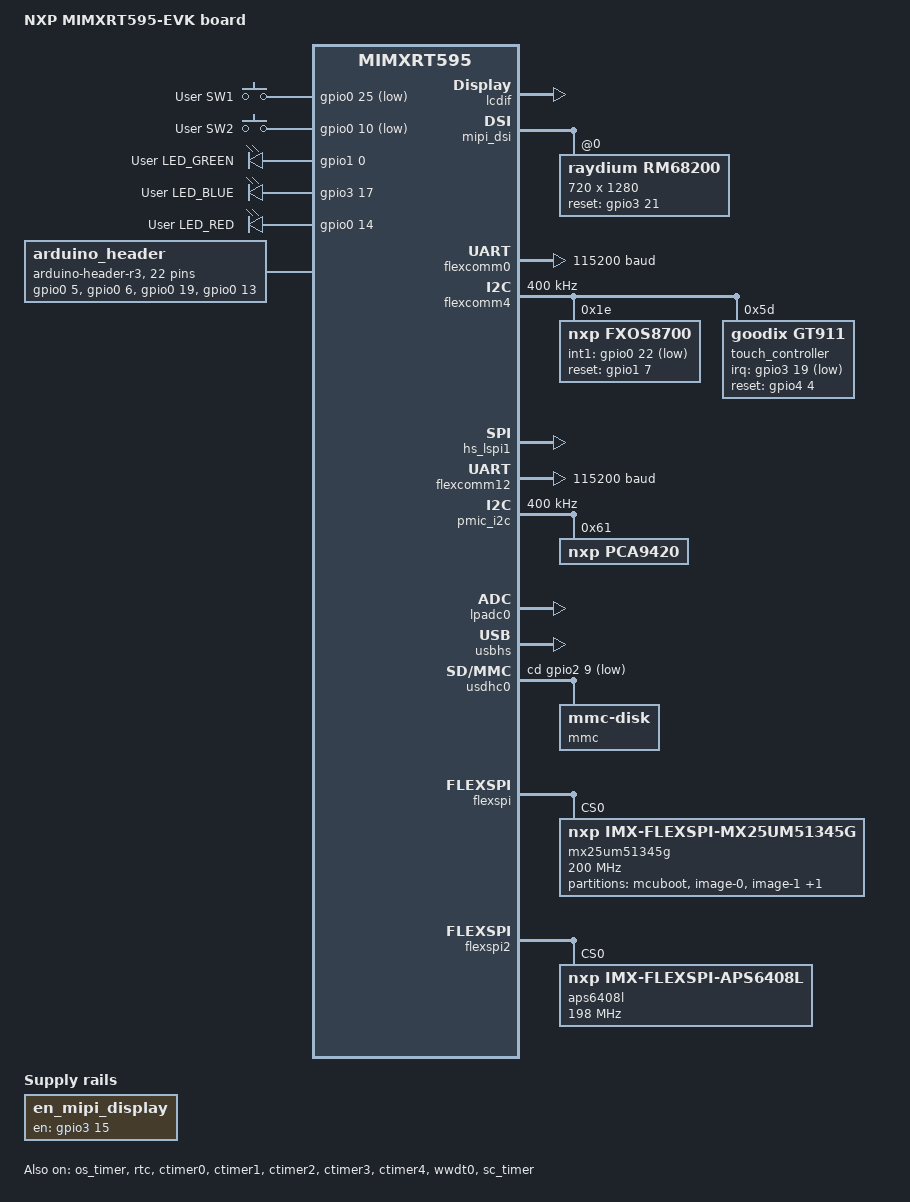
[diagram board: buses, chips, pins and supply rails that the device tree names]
/*
 * Copyright 2022-2023, NXP
 *
 * SPDX-License-Identifier: Apache-2.0
 */

/dts-v1/;

#include <nxp/nxp_rt5xx.dtsi>

#include "mimxrt595_evk_cm33-pinctrl.dtsi"

#include <zephyr/dt-bindings/display/panel.h>

/ {
	model = "NXP MIMXRT595-EVK board";
	compatible = "nxp,mimxrt595";

	aliases {
		sw0 = &user_button_1;
		sw1 = &user_button_2;
		led0 = &green_led;
		led1 = &blue_led;
		led2 = &red_led;
		usart-0 = &flexcomm0;
		watchdog0 = &wwdt0;
		magn0 = &fxos8700;
		accel0 = &fxos8700;
		sdhc0 = &usdhc0;
		kscan0 = &touch_controller;
		pwm-0 = &sc_timer;
	};

	chosen {
		zephyr,flash-controller = &mx25um51345g;
		zephyr,flash = &mx25um51345g;
		zephyr,code-partition = &slot0_partition;
		zephyr,sram = &sram0;
		zephyr,console = &flexcomm0;
		zephyr,shell-uart = &flexcomm0;
		zephyr,display = &lcdif;
		zephyr,keyboard-scan = &touch_controller;
	};

	gpio_keys {
		compatible = "gpio-keys";
		user_button_1: button_0 {
			label = "User SW1";
			gpios = <&gpio0 25 GPIO_ACTIVE_LOW>;
		};
		user_button_2: button_1 {
			label = "User SW2";
			gpios = <&gpio0 10 GPIO_ACTIVE_LOW>;
		};
	};

	leds {
		compatible = "gpio-leds";
		green_led: led_1 {
			gpios = <&gpio1 0 0>;
			label = "User LED_GREEN";
		};
		blue_led: led_2 {
			gpios = <&gpio3 17 0>;
			label = "User LED_BLUE";
		};
		red_led: led_3 {
			gpios = <&gpio0 14 0>;
			label = "User LED_RED";
		};
	};

	arduino_header: arduino-connector {
		compatible = "arduino-header-r3";
		#gpio-cells = <2>;
		gpio-map-mask = <0xffffffff 0xffffffc0>;
		gpio-map-pass-thru = <0 0x3f>;
		gpio-map =	<0 0 &gpio0 5 0>,	/* A0 */
				<1 0 &gpio0 6 0>,	/* A1 */
				<2 0 &gpio0 19 0>,	/* A2 */
				<3 0 &gpio0 13 0>,	/* A3 */
				<4 0 &gpio4 22 0>,	/* A4 */
				<5 0 &gpio4 21 0>,	/* A5 */
				<6 0 &gpio4 31 0>,	/* D0 */
				<7 0 &gpio4 30 0>,	/* D1 */
				<8 0 &gpio4 20 0>,	/* D2 */
				<9 0 &gpio4 23 0>,	/* D3 */
				<10 0 &gpio4 24 0>,	/* D4 */
				<11 0 &gpio4 25 0>,	/* D5 */
				<12 0 &gpio4 26 0>,	/* D6 */
				<13 0 &gpio4 27 0>,	/* D7 */
				<14 0 &gpio4 28 0>,	/* D8 */
				<15 0 &gpio4 29 0>,	/* D9 */
				<16 0 &gpio5 0 0>,	/* D10 */
				<17 0 &gpio5 1 0>,	/* D11 */
				<18 0 &gpio5 2 0>,	/* D12 */
				<19 0 &gpio5 3 0>,	/* D13 */
				<20 0 &gpio4 22 0>,	/* D14 */
				<21 0 &gpio4 21 0>;	/* D15 */
	};

	power-states {
		/* This is the setting Sleep Mode */
		idle: idle {
			compatible = "zephyr,power-state";
			power-state-name = "runtime-idle";
			min-residency-us = <0>;
			exit-latency-us = <0>;
		};
		/* This is the setting for Deep-sleep Mode */
		suspend: suspend {
			compatible = "nxp,pdcfg-power", "zephyr,power-state";
			power-state-name = "suspend-to-idle";
			min-residency-us = <500>;
			exit-latency-us = <120>;
			/*
			 * These values are written to the PDSLEEPCFG registers to keep certain
			 * blocks such as LPOSC, SRAM's, FlexSPI0 SRAM powered on during deep
			 * sleep mode.
			 */
			deep-sleep-config = <0xC800>,
						<0x80000004>,
						<0xFFFFFFFF>,
						<0>;
		};
		/*
		 * Deep power-down mode is supported in this SoC through 'PM_STATE_SOFT_OFF' state.
		 * There is no entry for this in device tree, user can call pm_state_force to enter
		 * this state.
		 */
	};

	en_mipi_display: enable-mipi-display {
		compatible = "regulator-fixed";
		regulator-name = "en_mipi_display";
		enable-gpios = <&gpio3 15 GPIO_ACTIVE_HIGH>;
		regulator-boot-on;
	};
};

&cpu0 {
	cpu-power-states = <&idle &suspend>;
};

/*
 * RT595 EVK board uses OS timer as the kernel timer
 * In case we need to switch to SYSTICK timer, then
 * replace &os_timer with &systick
 */
&os_timer {
	status = "okay";
};

&rtc {
	status = "okay";
};

&lcdif {
	status = "okay";
	width = <720>;
	height = <1280>;
	display-timings {
		compatible = "zephyr,panel-timing";
		hsync-len = <8>;
		hfront-porch = <32>;
		hback-porch = <32>;
		vsync-len = <2>;
		vfront-porch = <16>;
		vback-porch = <14>;
		hsync-active = <0>;
		vsync-active = <0>;
		de-active = <1>;
		pixelclk-active = <1>;
		/*
		 * Pixel clock is given by the following formula:
		 * (height + vsync-len + vfront-porch + vback-porch) *
		 * (width + hsync-len + hfront-porch + hback-porch) * frame rate
		 */
		clock-frequency = <62346240>;
	};
	backlight-gpios = <&gpio0 12 GPIO_ACTIVE_HIGH>;
	data-bus-width = "24-bit";
	pixel-format = <PANEL_PIXEL_FORMAT_BGR_565>;
};

&mipi_dsi {
	status = "okay";
	nxp,lcdif = <&lcdif>;
	dpi-color-coding = "24-bit";
	dpi-pixel-packet = "24-bit";
	dpi-video-mode = "burst";
	dpi-bllp-mode = "low-power";
	autoinsert-eotp;
	/*
	 * PHY clock is given by the following formula:
	 * (pixel clock * bits per pixel) / MIPI data lanes
	 */
	phy-clock = <748154880>;

	rm68200@0 {
		status = "okay";
		compatible = "raydium,rm68200";
		reg = <0x0>;
		reset-gpios = <&gpio3 21 GPIO_ACTIVE_HIGH>;
		data-lanes = <2>;
		width = <720>;
		height = <1280>;
		pixel-format = <MIPI_DSI_PIXFMT_RGB565>;
	};
};

&flexcomm0 {
	compatible = "nxp,lpc-usart";
	status = "okay";
	current-speed = <115200>;
	pinctrl-0 = <&pinmux_flexcomm0_usart>;
	pinctrl-names = "default";
};

arduino_i2c: &flexcomm4 {
	compatible = "nxp,lpc-i2c";
	status = "okay";
	clock-frequency = <I2C_BITRATE_FAST>;
	#address-cells = <1>;
	#size-cells = <0>;
	pinctrl-0 = <&pinmux_flexcomm4_i2c>;
	pinctrl-names = "default";

	fxos8700: fxos8700@1e {
		compatible = "nxp,fxos8700";
		reg = <0x1e>;
		int1-gpios = <&gpio0 22 GPIO_ACTIVE_LOW>;
		reset-gpios = <&gpio1 7 GPIO_ACTIVE_HIGH>;
	};

	touch_controller: gt911@5d {
		compatible = "goodix,gt911";
		reg = <0x5d>;
		irq-gpios = <&gpio3 19 GPIO_ACTIVE_LOW>;
		reset-gpios = <&gpio4 4 GPIO_ACTIVE_HIGH>;
	};
};

hs_spi1: &hs_lspi1 {
	compatible = "nxp,lpc-spi";
	pinctrl-0 = <&pinmux_flexcomm16_spi>;
	pinctrl-names = "default";
	dmas = <&dma0 28>, <&dma0 29>;
	dma-names = "rx", "tx";
	status = "okay";
};

arduino_serial: &flexcomm12 {
	compatible = "nxp,lpc-usart";
	status = "okay";
	current-speed = <115200>;
	pinctrl-0 = <&pinmux_flexcomm12_usart>;
	pinctrl-names = "default";
};

/* PCA9420 PMIC */
&pmic_i2c {
	status = "okay";
	clock-frequency = <I2C_BITRATE_FAST>;
	#address-cells = <1>;
	#size-cells = <0>;
	pinctrl-0 = <&pinmux_pmic_i2c>;
	pinctrl-names = "default";

	pca9420: pca9420@61 {
		compatible = "nxp,pca9420";
		reg = <0x61>;
		nxp,enable-modesel-pins;

		pca9420_sw1: BUCK1 {
			regulator-boot-on;
			nxp,mode0-microvolt = <1100000>;
			nxp,mode1-microvolt = <600000>;
			nxp,mode2-microvolt = <0>;
		};

		pca9420_sw2: BUCK2 {
			regulator-boot-on;
			nxp,mode0-microvolt = <1800000>;
			nxp,mode1-microvolt = <1800000>;
			nxp,mode2-microvolt = <1800000>;

		};

		pca9420_ldo1: LDO1 {
			regulator-boot-on;
			nxp,mode0-microvolt = <1800000>;
			nxp,mode1-microvolt = <1800000>;
			nxp,mode2-microvolt = <1800000>;
		};

		pca9420_ldo2: LDO2 {
			regulator-boot-on;
			nxp,mode0-microvolt = <3300000>;
			nxp,mode1-microvolt = <3300000>;
			nxp,mode2-microvolt = <3300000>;
		};
	};
};

&lpadc0 {
	status = "okay";
	pinctrl-0 = <&pinmux_lpadc0>;
	pinctrl-names = "default";
};

&gpio0 {
	status = "okay";
};

&gpio1 {
	status = "okay";
};

&gpio2 {
	status = "okay";
};

/*
 * GPIO module interrupts are shared between all GPIO devices on this
 * SOC, but Zephyr does not currently support sharing interrupts between
 * devices. The user can select GPIO modules to support interrupts by
 * setting the appropriate `int-source` and `interrupt` property for
 * a given module. On this board, GPIO3 and GPIO4 are configured to support
 * interrupts.
 */
&gpio3 {
	status = "okay";
	int-source = "int-a";
	interrupts = <2 0>;
};

&gpio4 {
	status = "okay";
	int-source = "int-b";
	interrupts = <3 0>;
};

&gpio5 {
	status = "okay";
};

&gpio6 {
	status = "okay";
};

&user_button_1 {
	status = "okay";
};

&user_button_2 {
	status = "okay";
};

&green_led {
	status = "okay";
};

&blue_led {
	status = "okay";
};

&red_led {
	status = "okay";
};

&dma0 {
	/*
	 * The total number of dma channels available is defined by
	 * FSL_FEATURE_DMA_NUMBER_OF_CHANNELS in the SoC features file.
	 * Since memory from the heap pool is allocated based on the number
	 * of DMA channels, set this property to as many channels is needed
	 * for the platform. Adjust HEAP_MEM_POOL_SIZE in case you need more
	 * memory.
	 */
	dma-channels = <37>;
	status = "okay";
};

zephyr_udc0: &usbhs {
	status = "okay";
};

&ctimer0 {
	status = "okay";
};

&ctimer1 {
	status = "okay";
};

&ctimer2 {
	status = "okay";
};

&ctimer3 {
	status = "okay";
};

&ctimer4 {
	status = "okay";
};

&usdhc0 {
	status = "okay";
	pwr-gpios = <&gpio2 10 GPIO_ACTIVE_HIGH>;
	cd-gpios = <&gpio2 9 GPIO_ACTIVE_LOW>;
	mmc {
		compatible = "zephyr,mmc-disk";
		status = "okay";
	};
	pinctrl-0 = <&pinmux_usdhc>;
	pinctrl-names = "default";
	mmc-hs200-1_8v;
	mmc-hs400-1_8v;
};

&wwdt0 {
	status = "okay";
};

&flexspi {
	status = "okay";
	pinctrl-0 = <&pinmux_flexspi>;
	pinctrl-1 = <&pinmux_flexspi_sleep>;
	pinctrl-names = "default", "sleep";

	mx25um51345g: mx25um51345g@0 {
		compatible = "nxp,imx-flexspi-mx25um51345g";
		/* MX25UM51245G is 64MB, 512MBit flash part */
		size = <DT_SIZE_M(64 * 8)>;
		reg = <0>;
		spi-max-frequency = <200000000>;
		status = "okay";
		jedec-id = [c2 81 3a];
		erase-block-size = <4096>;
		write-block-size = <16>;

		partitions {
			compatible = "fixed-partitions";
			#address-cells = <1>;
			#size-cells = <1>;

			boot_partition: partition@0 {
				label = "mcuboot";
				reg = <0x00000000 DT_SIZE_K(128)>;
			};
			slot0_partition: partition@20000 {
				label = "image-0";
				reg = <0x00020000 DT_SIZE_K(3076)>;
			};
			slot1_partition: partition@321000 {
				label = "image-1";
				reg = <0x00321000 DT_SIZE_K(3072)>;
			};
			storage_partition: partition@621000 {
				label = "storage";
				reg = <0x00621000 DT_SIZE_M(57)>;
			};
		};
	};
};

/*
 * Configure FlexSPI2 to use 1KB of AHB RX buffer for GPU/Display master.
 * This will improve performance when using external pSRAM with the LCDIF.
 */
&flexspi2 {
	status = "okay";
	pinctrl-0 = <&pinmux_flexspi2>;
	pinctrl-names = "default";
	rx-clock-source = <3>;
	ahb-prefetch;
	ahb-bufferable;
	ahb-cacheable;
	ahb-read-addr-opt;
	rx-buffer-config = <1 7 11 1024>;
	aps6408l: aps6408l@0 {
		compatible = "nxp,imx-flexspi-aps6408l";
		/* APS6408L is 8MB, 64MBit pSRAM */
		size = <DT_SIZE_M(8 * 8)>;
		reg = <0>;
		spi-max-frequency = <198000000>;
		status = "okay";
		cs-interval-unit = <1>;
		cs-interval = <5>;
		cs-hold-time = <3>;
		cs-setup-time = <3>;
		data-valid-time = <1>;
		column-space = <0>;
		ahb-write-wait-unit = <2>;
		ahb-write-wait-interval = <0>;
	};
};

&sc_timer {
	pinctrl-0 = <&pinmux_sctimer_default>;
	pinctrl-names = "default";
	status = "okay";
};
